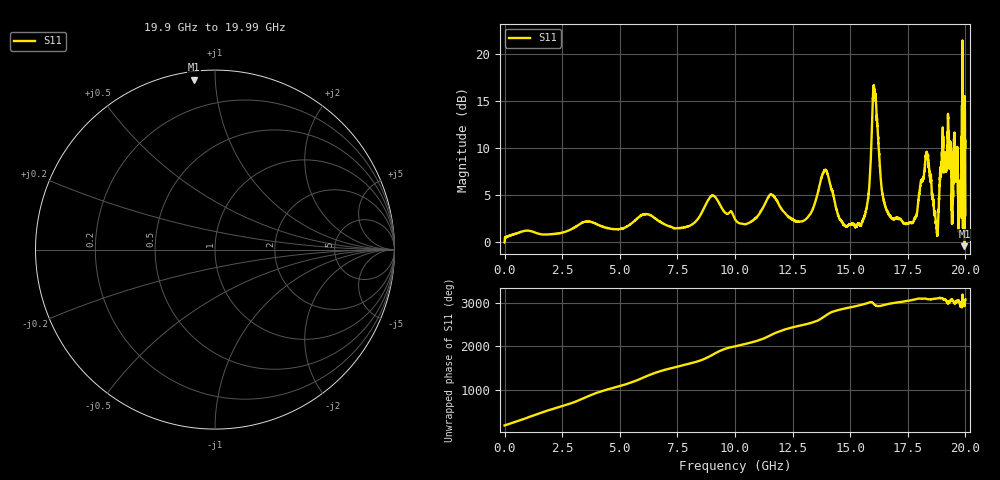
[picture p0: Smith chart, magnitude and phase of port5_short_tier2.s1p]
! Created with skrf 1.8.0 (http://scikit-rf.org).
# GHz S RI R 50.0
!freq ReS11 ImS11
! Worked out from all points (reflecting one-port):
!   10001 points, 1 MHz to 20 GHz, reference 50 ohm
!   lowest |S11| = -0.4 dB at 19.96 GHz (marker M1), VSWR 43.31, Z = 2.05 + j44.1 ohm
!   phase of S11 starts at 180 deg and turns +2899 deg over the sweep
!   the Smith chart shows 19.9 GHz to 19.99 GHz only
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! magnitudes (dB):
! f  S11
! 1 MHz  0.0
! 2.501 GHz  1.0
! 5.001 GHz  1.4
! 6.131 GHz  3.0
! 7.501 GHz  1.5
! 9.021 GHz  5.0
! 10 GHz  2.5
! 11.57 GHz  5.1
! 12.5 GHz  2.5
! 13.26 GHz  3.0
! 13.91 GHz  7.7
! 14.54 GHz  2.5
! 15 GHz  1.9
! 15.7 GHz  3.5
! 16.05 GHz  16.0
! 16.35 GHz  5.9
! 16.51 GHz  3.9
! 17.5 GHz  2.0
! 17.83 GHz  2.7
! 18.32 GHz  9.1
! 18.73 GHz  2.0
! 18.97 GHz  8.2
! 19.28 GHz  11.5
! 19.39 GHz  7.7
! 19.58 GHz  8.2
! 19.74 GHz  3.5
! 19.96 GHz  -0.4
! 20 GHz  2.9
